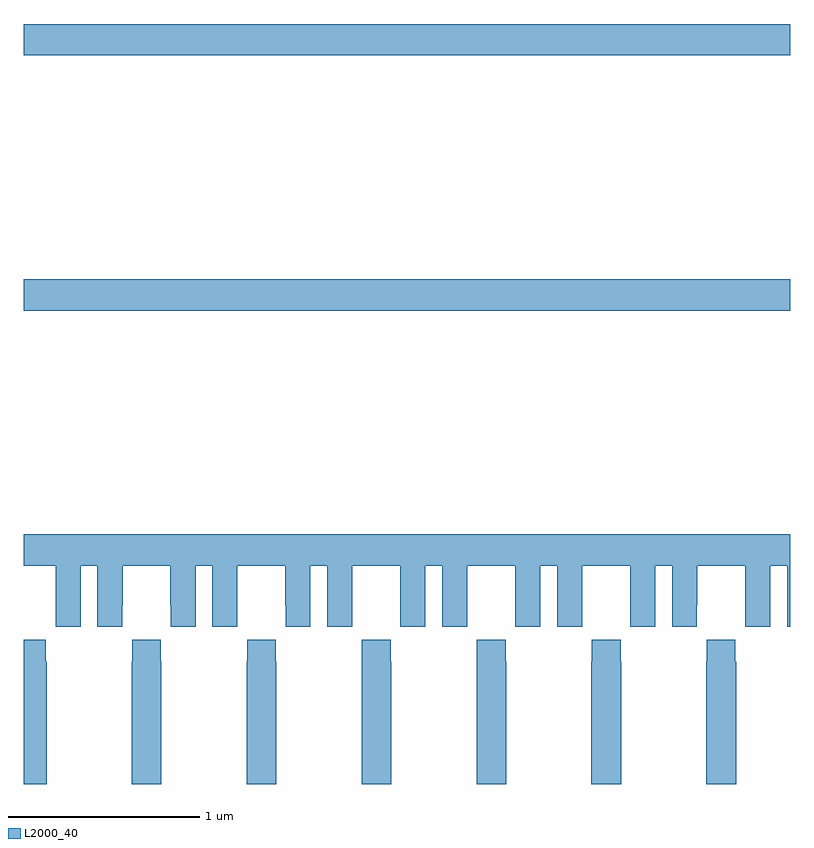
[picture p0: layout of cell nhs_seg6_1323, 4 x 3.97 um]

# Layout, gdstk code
import gdstk
lib = gdstk.Library(unit=1e-6, precision=1e-09)
def R(c, l, rs):  # rectangles x0, y0, x1, y1
    for r in rs: c.add(gdstk.rectangle(r[:2], r[2:], *l))
def P(c, l, *ps):  # polygons
    for p in ps: c.add(gdstk.Polygon(p, *l))
L2000_40 = (2000, 40)

nhs_seg6_1323 = lib.new_cell('nhs_seg6_1323')
R(nhs_seg6_1323, L2000_40, [(191,977.972,195,978.136), (191,979.304,195,979.468)])
P(nhs_seg6_1323, L2000_40, [(191.296,976.64),(191.384,976.64),(191.384,976.32),(191.514,976.32),(191.514,976.432),(191.515,976.432),(191.515,976.64),(191.765,976.64),(191.765,976.432),(191.766,976.432),(191.766,976.32),(191.896,976.32),(191.896,976.64),(191.984,976.64),(191.984,976.32),(192.114,976.32),(192.114,976.432),(192.115,976.432),(192.115,976.64),(192.365,976.64),(192.365,976.432),(192.366,976.432),(192.366,976.32),(192.496,976.32),(192.496,976.64),(192.584,976.64),(192.584,976.32),(192.714,976.32),(192.714,976.432),(192.715,976.432),(192.715,976.64),(192.965,976.64),(192.965,976.432),(192.966,976.432),(192.966,976.32),(193.096,976.32),(193.096,976.64),(193.184,976.64),(193.184,976.32),(193.314,976.32),(193.314,976.432),(193.315,976.432),(193.315,976.64),(193.565,976.64),(193.565,976.432),(193.566,976.432),(193.566,976.32),(193.696,976.32),(193.696,976.64),(193.784,976.64),(193.784,976.32),(193.914,976.32),(193.914,976.432),(193.915,976.432),(193.915,976.64),(194.165,976.64),(194.165,976.432),(194.166,976.432),(194.166,976.32),(194.296,976.32),(194.296,976.64),(194.384,976.64),(194.384,976.32),(194.514,976.32),(194.514,976.432),(194.515,976.432),(194.515,976.64),(194.765,976.64),(194.765,976.432),(194.766,976.432),(194.766,976.32),(194.896,976.32),(194.896,976.64),(194.984,976.64),(194.984,976.32),(195,976.32),(195,976.804),(191,976.804),(191,976.64),(191.165,976.64),(191.165,976.432),(191.166,976.432),(191.166,976.32),(191.296,976.32)],
  [(192.318,976.139),(192.315,976.139),(192.315,976.252),(192.165,976.252),(192.165,976.139),(192.163,976.139),(192.163,975.5),(192.318,975.5)],
  [(191.718,976.139),(191.715,976.139),(191.715,976.252),(191.565,976.252),(191.565,976.139),(191.563,976.139),(191.563,975.5),(191.718,975.5)],
  [(191.118,976.139),(191.115,976.139),(191.115,976.252),(191,976.252),(191,975.5),(191.118,975.5)],
  [(194.118,976.139),(194.115,976.139),(194.115,976.252),(193.965,976.252),(193.965,976.139),(193.963,976.139),(193.963,975.5),(194.118,975.5)],
  [(192.918,976.139),(192.915,976.139),(192.915,976.252),(192.765,976.252),(192.765,976.139),(192.763,976.139),(192.763,975.5),(192.918,975.5)],
  [(193.518,976.139),(193.515,976.139),(193.515,976.252),(193.365,976.252),(193.365,976.139),(193.363,976.139),(193.363,975.5),(193.518,975.5)],
  [(194.718,976.139),(194.715,976.139),(194.715,976.252),(194.565,976.252),(194.565,976.139),(194.563,976.139),(194.563,975.5),(194.718,975.5)])

lib.write_gds('nhs_seg6_1323.gds')
